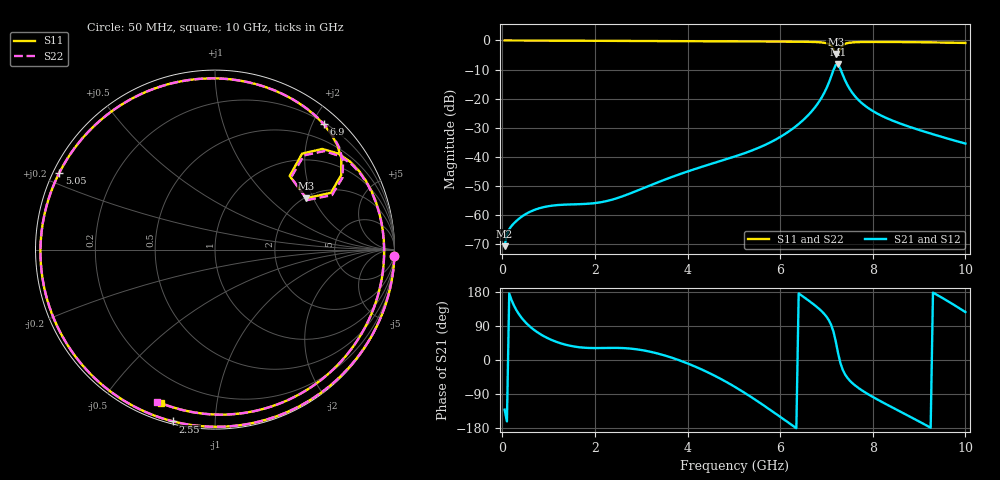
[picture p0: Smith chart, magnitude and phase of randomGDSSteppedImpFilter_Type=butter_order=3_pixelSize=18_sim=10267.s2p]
! freq	dB(S11)	phase(S11)	dB(S12)	phase(S12)
!  dB(S21)	phase(S21)	dB(S22)	phase(S22)
!S-par simulation data
#  GHz  S  DB  R 50
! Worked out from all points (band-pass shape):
!   200 points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, 50 MHz to 10 GHz, reference 50 ohm
!   highest |S21| = -8.25 dB at 7.25 GHz (marker M1); lowest = -70.7 dB at 50 MHz (marker M2)
!   |S21| within 3 dB of the highest: 7.127 GHz to 7.338 GHz (210.9 MHz wide, 2.92 % of centre)
!   lowest |S11| = -4.7 dB at 7.2 GHz (marker M3), VSWR 3.81, Z = 102 + j88.7 ohm
!   |S11| at or under -10 dB: nowhere
!   |S22| runs from -4.7 to 0.0 dB; largest |S21 - S12| = 0
!   S11 on the Smith chart (normalised r, x): 50 MHz: 0, -54; 2.55 GHz: 0.01, -0.79; 5.05 GHz: 0.02, +0.23; 6.9 GHz: 0.23, +2.17; 10 GHz: 0.07, -0.70
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0.05  -0.00 -2.1  -70.70 -131.0  -70.70 -131.0  -0.00 -2.1
0.15  -0.00 -6.4  -64.85 175.4  -64.85 175.4  -0.00 -6.4
0.55  -0.02 -23.2  -59.27 93.5  -59.27 93.5  -0.02 -23.2
1.2  -0.06 -50.0  -56.56 46.5  -56.56 46.5  -0.06 -50.0
1.75  -0.09 -72.2  -56.21 32.6  -56.21 32.6  -0.09 -72.2
2.55  -0.13 -103.7  -53.82 31.8  -53.82 31.8  -0.13 -103.7
3.4  -0.17 -136.8  -48.50 15.7  -48.50 15.7  -0.17 -137.0
4.25  -0.23 -171.1  -43.72 -21.9  -43.72 -21.9  -0.23 -171.4
5.05  -0.29 153.7  -39.73 -72.9  -39.73 -72.9  -0.29 153.3
6  -0.38 105.4  -33.17 -150.0  -33.17 -150.0  -0.38 104.7
6.35  -0.42 85.3  -29.36 -180.0  -29.36 -180.0  -0.42 84.5
6.7  -0.51 63.4  -24.00 149.1  -24.00 149.1  -0.51 62.4
6.9  -0.68 49.1  -19.51 128.3  -19.51 128.3  -0.69 48.1
7.1  -1.76 30.6  -12.47 93.0  -12.47 93.0  -1.77 29.4
7.2  -4.67 29.3  -8.42 49.5  -8.42 49.5  -4.68 28.2
7.25  -4.66 44.6  -8.25 18.5  -8.25 18.5  -4.67 43.5
7.35  -1.72 43.2  -11.74 -25.4  -11.74 -25.4  -1.73 42.0
7.65  -0.59 16.9  -19.78 -70.2  -19.78 -70.2  -0.59 15.7
8  -0.51 -5.9  -24.24 -97.4  -24.24 -97.4  -0.51 -7.2
8.35  -0.52 -26.5  -27.04 -120.6  -27.04 -120.6  -0.52 -27.8
9.15  -0.64 -68.9  -31.51 -172.0  -31.51 -172.0  -0.64 -70.2
10  -0.85 -109.5  -35.43 126.4  -35.43 126.4  -0.86 -110.7
